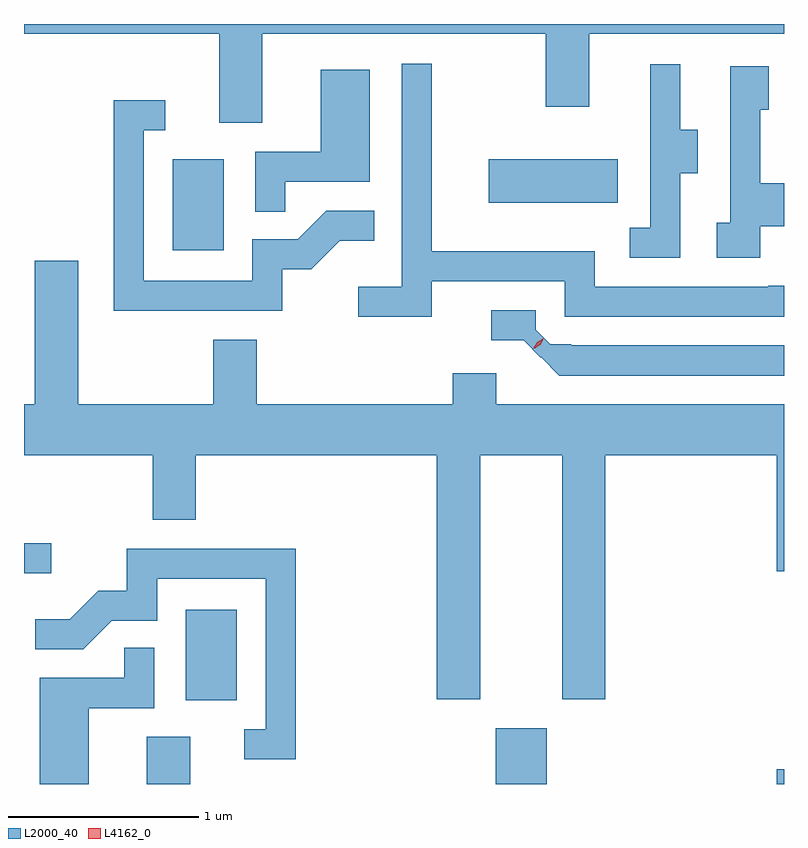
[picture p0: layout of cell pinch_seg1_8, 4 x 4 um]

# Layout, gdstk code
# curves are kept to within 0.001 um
import gdstk
lib = gdstk.Library(unit=1e-6, precision=1e-09)
def R(c, l, rs):  # rectangles x0, y0, x1, y1
    for r in rs: c.add(gdstk.rectangle(r[:2], r[2:], *l))
def P(c, l, *ps):  # polygons
    for p in ps: c.add(gdstk.Polygon(p, *l))
L2000_40 = (2000, 40)
L4162_0 = (4162, 0)

pinch_seg1_8 = lib.new_cell('pinch_seg1_8')
R(pinch_seg1_8, L2000_40, [(1810.161,873.426,1810.389,873.674), (1811.996,873.426,1812.264,873.719), (1813.476,873.426,1813.514,873.504), (1810.366,873.866,1810.634,874.344), (1809.514,874.536,1809.658,874.694), (1810.296,876.236,1810.564,876.714), (1811.961,876.486,1812.639,876.714)])
P(pinch_seg1_8, L2000_40, [(1809.514,877.376),(1810.541,877.376),(1810.541,876.906),(1810.769,876.906),(1810.769,877.376),(1812.261,877.376),(1812.261,876.991),(1812.489,876.991),(1812.489,877.376),(1813.514,877.376),(1813.514,877.426),(1809.514,877.426)],
  [(1811.659,876.071),(1812.361,876.071),(1812.361,875.886),(1813.514,875.886),(1813.514,876.048),(1813.432,876.048),(1813.432,876.044),(1812.519,876.044),(1812.519,876.229),(1811.659,876.229),(1811.659,877.218),(1811.501,877.218),(1811.501,876.044),(1811.273,876.044),(1811.273,875.886),(1811.659,875.886)],
  [(1812.969,876.641),(1813.059,876.641),(1813.059,876.869),(1812.969,876.869),(1812.969,877.213),(1812.811,877.213),(1812.811,876.354),(1812.703,876.354),(1812.703,876.196),(1812.969,876.196)],
  [(1813.389,876.361),(1813.514,876.361),(1813.514,876.589),(1813.389,876.589),(1813.389,876.976),(1813.434,876.976),(1813.434,877.204),(1813.231,877.204),(1813.231,876.379),(1813.161,876.379),(1813.161,876.196),(1813.389,876.196)],
  [(1810.889,876.596),(1811.334,876.596),(1811.334,877.184),(1811.076,877.184),(1811.076,876.754),(1810.731,876.754),(1810.731,876.438),(1810.889,876.438)],
  [(1810.874,876.136),(1811.027,876.136),(1811.177,876.286),(1811.358,876.286),(1811.358,876.444),(1811.104,876.444),(1810.954,876.294),(1810.716,876.294),(1810.716,876.074),(1810.144,876.074),(1810.144,876.866),(1810.258,876.866),(1810.258,877.024),(1809.986,877.024),(1809.986,875.916),(1810.874,875.916)],
  [(1811.914,875.156),(1812.346,875.156),(1812.346,873.871),(1812.574,873.871),(1812.574,875.156),(1813.476,875.156),(1813.476,874.546),(1813.514,874.546),(1813.514,875.424),(1811.999,875.424),(1811.999,875.589),(1811.771,875.589),(1811.771,875.424),(1810.739,875.424),(1810.739,875.764),(1810.511,875.764),(1810.511,875.424),(1809.799,875.424),(1809.799,876.179),(1809.571,876.179),(1809.571,875.424),(1809.514,875.424),(1809.514,875.156),(1810.191,875.156),(1810.191,874.816),(1810.419,874.816),(1810.419,875.156),(1811.686,875.156),(1811.686,873.871),(1811.914,873.871)],
  [(1813.514,875.734),(1812.395,875.734),(1812.395,875.741),(1812.284,875.741),(1812.208,875.817),(1812.208,875.919),(1811.973,875.919),(1811.973,875.762),(1812.143,875.762),(1812.331,875.576),(1813.514,875.576)],
  [(1810.944,874.664),(1810.056,874.664),(1810.056,874.444),(1809.904,874.444),(1809.754,874.294),(1809.573,874.294),(1809.573,874.136),(1809.827,874.136),(1809.977,874.286),(1810.214,874.286),(1810.214,874.506),(1810.786,874.506),(1810.786,873.714),(1810.673,873.714),(1810.673,873.556),(1810.944,873.556)],
  [(1809.854,873.826),(1810.199,873.826),(1810.199,874.143),(1810.041,874.143),(1810.041,873.984),(1809.596,873.984),(1809.596,873.426),(1809.854,873.426)])
P(pinch_seg1_8, L4162_0, [(1812.194,875.716),(1812.194,875.717),(1812.215,875.751),(1812.25,875.772),(1812.25,875.772),(1812.25,875.772),(1812.23,875.737),(1812.195,875.716)],
  [(1812.201,875.72),(1812.201,875.721),(1812.216,875.751),(1812.245,875.767),(1812.246,875.767),(1812.246,875.766),(1812.23,875.737),(1812.202,875.72)])

lib.write_gds('pinch_seg1_8.gds')
